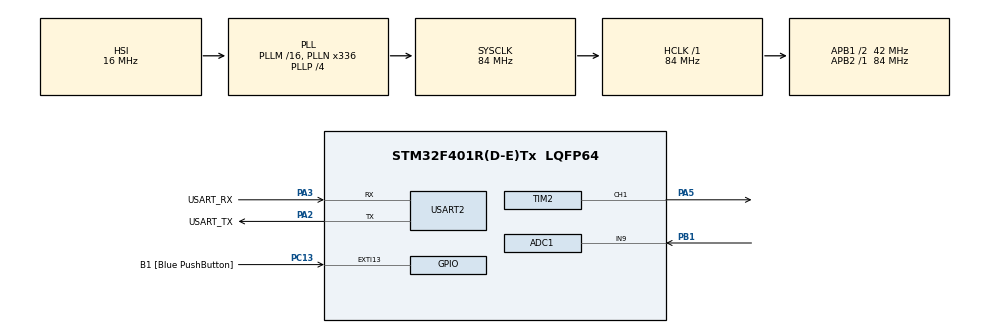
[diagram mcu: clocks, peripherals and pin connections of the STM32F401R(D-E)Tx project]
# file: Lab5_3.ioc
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ADC1.Channel-0\#ChannelRegularConversion=ADC_CHANNEL_9
ADC1.NbrOfConversionFlag=1
ADC1.Rank-0\#ChannelRegularConversion=1
ADC1.SamplingTime-0\#ChannelRegularConversion=ADC_SAMPLETIME_3CYCLES
ADC1.master=1
Mcu.Family=STM32F4
Mcu.Name=STM32F401R(D-E)Tx
Mcu.Package=LQFP64
NVIC.PriorityGroup=NVIC_PRIORITYGROUP_0
PA13.GPIO_Label=TMS
PA13.Mode=Serial_Wire
PA13.Signal=SYS_JTMS-SWDIO
PA14.GPIO_Label=TCK
PA14.Mode=Serial_Wire
PA14.Signal=SYS_JTCK-SWCLK
PA2.GPIO_Label=USART_TX
PA2.GPIO_Mode=GPIO_MODE_AF_PP
PA2.GPIO_PuPd=GPIO_NOPULL
PA2.GPIO_Speed=GPIO_SPEED_FREQ_LOW
PA2.Mode=Asynchronous
PA2.Signal=USART2_TX
PA3.GPIO_Label=USART_RX
PA3.GPIO_Mode=GPIO_MODE_AF_PP
PA3.GPIO_PuPd=GPIO_NOPULL
PA3.GPIO_Speed=GPIO_SPEED_FREQ_LOW
PA3.Mode=Asynchronous
PA3.Signal=USART2_RX
PA5.Signal=S_TIM2_CH1_ETR
PB1.Signal=ADCx_IN9
PB3.GPIO_Label=SWO
PB3.Signal=SYS_JTDO-SWO
PC13-ANTI_TAMP.GPIO_Label=B1 [Blue PushButton]
PC13-ANTI_TAMP.GPIO_ModeDefaultEXTI=GPIO_MODE_IT_FALLING
PC13-ANTI_TAMP.GPIO_PuPd=GPIO_NOPULL
PC13-ANTI_TAMP.Signal=GPXTI13
PC14-OSC32_IN.Mode=LSE-External-Oscillator
PC14-OSC32_IN.Signal=RCC_OSC32_IN
PC15-OSC32_OUT.Mode=LSE-External-Oscillator
PC15-OSC32_OUT.Signal=RCC_OSC32_OUT
PH0\ -\ OSC_IN.Mode=HSE-External-Clock-Source
PH0\ -\ OSC_IN.Signal=RCC_OSC_IN
PH1\ -\ OSC_OUT.Mode=HSE-External-Clock-Source
PH1\ -\ OSC_OUT.Signal=RCC_OSC_OUT
ProjectManager.HeapSize=0x200
ProjectManager.StackSize=0x400
ProjectManager.TargetToolchain=STM32CubeIDE
RCC.48MHZClocksFreq_Value=48000000
RCC.AHBFreq_Value=84000000
RCC.APB1CLKDivider=RCC_HCLK_DIV2
RCC.APB1Freq_Value=42000000
RCC.APB1TimFreq_Value=84000000
RCC.APB2Freq_Value=84000000
RCC.APB2TimFreq_Value=84000000
RCC.CortexFreq_Value=84000000
RCC.HCLKFreq_Value=84000000
RCC.HSE_VALUE=8000000
RCC.HSI_VALUE=16000000
RCC.PLLN=336
RCC.PLLP=RCC_PLLP_DIV4
RCC.PLLQ=7
RCC.SYSCLKFreq_VALUE=84000000
RCC.SYSCLKSource=RCC_SYSCLKSOURCE_PLLCLK
RCC.VCOOutputFreq_Value=336000000
SH.ADCx_IN9.0=ADC1_IN9,IN9
SH.S_TIM2_CH1_ETR.0=TIM2_CH1,PWM Generation1 CH1
TIM2.Channel-PWM\ Generation1\ CH1=TIM_CHANNEL_1
TIM2.Period=100
TIM2.Prescaler=80-1
USART2.VirtualMode=VM_ASYNC
board=NUCLEO-F401RE

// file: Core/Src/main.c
/* USER CODE BEGIN Header */
/**
 ******************************************************************************
 * @file           : main.c
 * @brief          : Main program body
 ******************************************************************************
 * @attention
 *
 * Copyright (c) 2022 STMicroelectronics.
 * All rights reserved.
 *
 * This software is licensed under terms that can be found in the LICENSE file
 * in the root directory of this software component.
 * If no LICENSE file comes with this software, it is provided AS-IS.
 *
 ******************************************************************************
 */
/* USER CODE END Header */
#include "main.h"

ADC_HandleTypeDef hadc1;

TIM_HandleTypeDef htim2;

UART_HandleTypeDef huart2;

void SystemClock_Config(void);
static void MX_GPIO_Init(void);
static void MX_USART2_UART_Init(void);
static void MX_ADC1_Init(void);
static void MX_TIM2_Init(void);

int main(void) {

	/* MCU Configuration--------------------------------------------------------*/

	/* Reset of all peripherals, Initializes the Flash interface and the Systick. */
	HAL_Init();

	/* Configure the system clock */
	SystemClock_Config();

	/* Initialize all configured peripherals */
	MX_GPIO_Init();
	MX_USART2_UART_Init();
	MX_ADC1_Init();
	MX_TIM2_Init();
	/* USER CODE BEGIN 2 */
	HAL_TIM_PWM_Start(&htim2, TIM_CHANNEL_1);

	int readValue;
	int lvl;
	int maxb = 0;
	int minb = 3000;
	/* USER CODE END 2 */

	/* Infinite loop */
	while (1) {

		/* USER CODE BEGIN 3 */
		HAL_ADC_Start(&hadc1);

		if (HAL_ADC_PollForConversion(&hadc1, 100000) == HAL_OK) {
			readValue = HAL_ADC_GetValue(&hadc1);
			char buffer[8];
			sprintf(buffer, "%d\n\r", readValue);
			HAL_UART_Transmit(&huart2, buffer, sizeof(buffer), 100);

			if(readValue>maxb) maxb = readValue;
			if(readValue<minb) minb = readValue;
			lvl = (1 - ((double)(maxb - readValue)/(double)(maxb-minb))) * 100;
			TIM2->CCR1 = lvl;
			TIM2->CNT = 0;

		}
		HAL_Delay(100);
	}
	/* USER CODE END 3 */
}

void SystemClock_Config(void) {
	RCC_OscInitTypeDef RCC_OscInitStruct = { 0 };
	RCC_ClkInitTypeDef RCC_ClkInitStruct = { 0 };

	/** Configure the main internal regulator output voltage
	 */
	__HAL_RCC_PWR_CLK_ENABLE();
	__HAL_PWR_VOLTAGESCALING_CONFIG(PWR_REGULATOR_VOLTAGE_SCALE2);
	/** Initializes the RCC Oscillators according to the specified parameters
	 * in the RCC_OscInitTypeDef structure.
	 */
	RCC_OscInitStruct.OscillatorType = RCC_OSCILLATORTYPE_HSI;
	RCC_OscInitStruct.HSIState = RCC_HSI_ON;
	RCC_OscInitStruct.HSICalibrationValue = RCC_HSICALIBRATION_DEFAULT;
	RCC_OscInitStruct.PLL.PLLState = RCC_PLL_ON;
	RCC_OscInitStruct.PLL.PLLSource = RCC_PLLSOURCE_HSI;
	RCC_OscInitStruct.PLL.PLLM = 16;
	RCC_OscInitStruct.PLL.PLLN = 336;
	RCC_OscInitStruct.PLL.PLLP = RCC_PLLP_DIV4;
	RCC_OscInitStruct.PLL.PLLQ = 7;
	if (HAL_RCC_OscConfig(&RCC_OscInitStruct) != HAL_OK) {
		Error_Handler();
	}
	/** Initializes the CPU, AHB and APB buses clocks
	 */
	RCC_ClkInitStruct.ClockType = RCC_CLOCKTYPE_HCLK | RCC_CLOCKTYPE_SYSCLK
			| RCC_CLOCKTYPE_PCLK1 | RCC_CLOCKTYPE_PCLK2;
	RCC_ClkInitStruct.SYSCLKSource = RCC_SYSCLKSOURCE_PLLCLK;
	RCC_ClkInitStruct.AHBCLKDivider = RCC_SYSCLK_DIV1;
	RCC_ClkInitStruct.APB1CLKDivider = RCC_HCLK_DIV2;
	RCC_ClkInitStruct.APB2CLKDivider = RCC_HCLK_DIV1;

	if (HAL_RCC_ClockConfig(&RCC_ClkInitStruct, FLASH_LATENCY_2) != HAL_OK) {
		Error_Handler();
	}
}

static void MX_ADC1_Init(void) {

	ADC_ChannelConfTypeDef sConfig = { 0 };

	/** Configure the global features of the ADC (Clock, Resolution, Data Alignment and number of conversion)
	 */
	hadc1.Instance = ADC1;
	hadc1.Init.ClockPrescaler = ADC_CLOCK_SYNC_PCLK_DIV4;
	hadc1.Init.Resolution = ADC_RESOLUTION_12B;
	hadc1.Init.ScanConvMode = DISABLE;
	hadc1.Init.ContinuousConvMode = DISABLE;
	hadc1.Init.DiscontinuousConvMode = DISABLE;
	hadc1.Init.ExternalTrigConvEdge = ADC_EXTERNALTRIGCONVEDGE_NONE;
	hadc1.Init.ExternalTrigConv = ADC_SOFTWARE_START;
	hadc1.Init.DataAlign = ADC_DATAALIGN_RIGHT;
	hadc1.Init.NbrOfConversion = 1;
	hadc1.Init.DMAContinuousRequests = DISABLE;
	hadc1.Init.EOCSelection = ADC_EOC_SINGLE_CONV;
	if (HAL_ADC_Init(&hadc1) != HAL_OK) {
		Error_Handler();
	}
	/** Configure for the selected ADC regular channel its corresponding rank in the sequencer and its sample time.
	 */
	sConfig.Channel = ADC_CHANNEL_9;
	sConfig.Rank = 1;
	sConfig.SamplingTime = ADC_SAMPLETIME_3CYCLES;
	if (HAL_ADC_ConfigChannel(&hadc1, &sConfig) != HAL_OK) {
		Error_Handler();
	}

}

static void MX_TIM2_Init(void) {

	TIM_MasterConfigTypeDef sMasterConfig = { 0 };
	TIM_OC_InitTypeDef sConfigOC = { 0 };

	htim2.Instance = TIM2;
	htim2.Init.Prescaler = 80 - 1;
	htim2.Init.CounterMode = TIM_COUNTERMODE_UP;
	htim2.Init.Period = 100;
	htim2.Init.ClockDivision = TIM_CLOCKDIVISION_DIV1;
	htim2.Init.AutoReloadPreload = TIM_AUTORELOAD_PRELOAD_DISABLE;
	if (HAL_TIM_PWM_Init(&htim2) != HAL_OK) {
		Error_Handler();
	}
	sMasterConfig.MasterOutputTrigger = TIM_TRGO_RESET;
	sMasterConfig.MasterSlaveMode = TIM_MASTERSLAVEMODE_DISABLE;
	if (HAL_TIMEx_MasterConfigSynchronization(&htim2, &sMasterConfig)
			!= HAL_OK) {
		Error_Handler();
	}
	sConfigOC.OCMode = TIM_OCMODE_PWM1;
	sConfigOC.Pulse = 0;
	sConfigOC.OCPolarity = TIM_OCPOLARITY_HIGH;
	sConfigOC.OCFastMode = TIM_OCFAST_DISABLE;
	if (HAL_TIM_PWM_ConfigChannel(&htim2, &sConfigOC, TIM_CHANNEL_1)
			!= HAL_OK) {
		Error_Handler();
	}
	HAL_TIM_MspPostInit(&htim2);

}

static void MX_USART2_UART_Init(void) {

	huart2.Instance = USART2;
	huart2.Init.BaudRate = 115200;
	huart2.Init.WordLength = UART_WORDLENGTH_8B;
	huart2.Init.StopBits = UART_STOPBITS_1;
	huart2.Init.Parity = UART_PARITY_NONE;
	huart2.Init.Mode = UART_MODE_TX_RX;
	huart2.Init.HwFlowCtl = UART_HWCONTROL_NONE;
	huart2.Init.OverSampling = UART_OVERSAMPLING_16;
	if (HAL_UART_Init(&huart2) != HAL_OK) {
		Error_Handler();
	}

}

static void MX_GPIO_Init(void) {
	GPIO_InitTypeDef GPIO_InitStruct = { 0 };

	/* GPIO Ports Clock Enable */
	__HAL_RCC_GPIOC_CLK_ENABLE();
	__HAL_RCC_GPIOH_CLK_ENABLE();
	__HAL_RCC_GPIOA_CLK_ENABLE();
	__HAL_RCC_GPIOB_CLK_ENABLE();

	/*Configure GPIO pin : B1_Pin */
	GPIO_InitStruct.Pin = B1_Pin;
	GPIO_InitStruct.Mode = GPIO_MODE_IT_FALLING;
	GPIO_InitStruct.Pull = GPIO_NOPULL;
	HAL_GPIO_Init(B1_GPIO_Port, &GPIO_InitStruct);

}

void Error_Handler(void) {
	__disable_irq();
	while (1) {
	}
}
